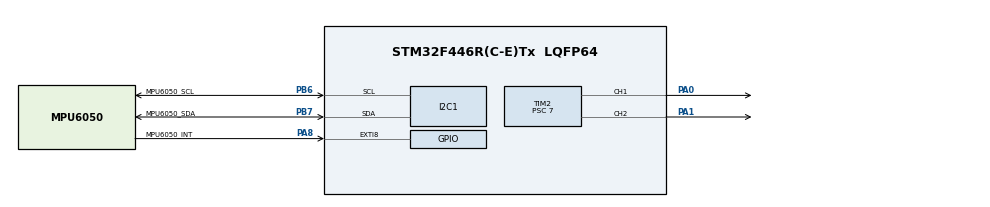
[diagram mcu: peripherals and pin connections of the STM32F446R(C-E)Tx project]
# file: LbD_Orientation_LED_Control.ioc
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FREERTOS.Tasks01=defaultTask,24,128,StartDefaultTask,Default,NULL,Dynamic,NULL,NULL;readSensorTask,32,128,Read_Sensor_Task,Default,NULL,Dynamic,NULL,NULL;pwmControlTask,40,128,PWM_Control_Task,Default,NULL,Dynamic,NULL,NULL
FREERTOS.configUSE_NEWLIB_REENTRANT=1
Mcu.Family=STM32F4
Mcu.Name=STM32F446R(C-E)Tx
Mcu.Package=LQFP64
NVIC.EXTI9_5_IRQn=true\:5\:0\:false\:false\:true\:true\:true\:true\:true
NVIC.I2C1_ER_IRQn=true\:5\:0\:false\:false\:true\:true\:true\:true\:true
NVIC.I2C1_EV_IRQn=true\:5\:0\:false\:false\:true\:true\:true\:true\:true
NVIC.PriorityGroup=NVIC_PRIORITYGROUP_4
NVIC.TIM6_DAC_IRQn=true\:15\:0\:false\:false\:true\:false\:false\:true\:true
NVIC.TimeBase=TIM6_DAC_IRQn
NVIC.TimeBaseIP=TIM6
PA0-WKUP.Signal=S_TIM2_CH1_ETR
PA1.Signal=S_TIM2_CH2
PA8.GPIO_Label=MPU6050_INT
PA8.Signal=GPXTI8
PB6.GPIO_Label=MPU6050_SCL
PB6.Mode=I2C
PB6.Signal=I2C1_SCL
PB7.GPIO_Label=MPU6050_SDA
PB7.Mode=I2C
PB7.Signal=I2C1_SDA
ProjectManager.HeapSize=0x200
ProjectManager.StackSize=0x400
ProjectManager.TargetToolchain=STM32CubeIDE
RCC.AHBCLKDivider=RCC_SYSCLK_DIV2
RCC.AHBFreq_Value=8000000
RCC.APB1Freq_Value=8000000
RCC.APB1TimFreq_Value=8000000
RCC.APB2Freq_Value=8000000
RCC.APB2TimFreq_Value=8000000
RCC.CortexFreq_Value=8000000
RCC.HCLKFreq_Value=8000000
RCC.USBFreq_Value=96000000
RCC.VCOOutputFreq_Value=192000000
SH.S_TIM2_CH1_ETR.0=TIM2_CH1,PWM Generation1 CH1
SH.S_TIM2_CH2.0=TIM2_CH2,PWM Generation2 CH2
TIM2.Channel-PWM\ Generation1\ CH1=TIM_CHANNEL_1
TIM2.Channel-PWM\ Generation2\ CH2=TIM_CHANNEL_2
TIM2.Period=1000
TIM2.Prescaler=7
TIM2.Pulse-PWM\ Generation1\ CH1=500
TIM2.Pulse-PWM\ Generation2\ CH2=200
TIM2.TIM_MasterOutputTrigger=TIM_TRGO_RESET
VP_FREERTOS_VS_CMSIS_V2.Mode=CMSIS_V2
VP_SYS_VS_tim6.Mode=TIM6
VP_TIM2_VS_ClockSourceINT.Mode=Internal
board=custom

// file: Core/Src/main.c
/* USER CODE BEGIN Header */
/**
 ******************************************************************************
 * @file           : main.c
 * @brief          : Main program body
 ******************************************************************************
 * @attention
 *
 * Copyright (c) 2025 STMicroelectronics.
 * All rights reserved.
 *
 * This software is licensed under terms that can be found in the LICENSE file
 * in the root directory of this software component.
 * If no LICENSE file comes with this software, it is provided AS-IS.
 *
 ******************************************************************************
 */
/* USER CODE END Header */
#include "main.h"
#include "cmsis_os.h"

/* USER CODE BEGIN Includes */

#include <math.h>
#include "kalman_filter.h"
#include "mpu6050.h"
#include <limits.h>

/* USER CODE END Includes */

I2C_HandleTypeDef hi2c1;

TIM_HandleTypeDef htim2;

/* Definitions for defaultTask */
osThreadId_t defaultTaskHandle;
const osThreadAttr_t defaultTask_attributes = { .name = "defaultTask", .stack_size = 128 * 4, .priority =
		(osPriority_t) osPriorityNormal, };
/* Definitions for readSensorTask */
osThreadId_t readSensorTaskHandle;
const osThreadAttr_t readSensorTask_attributes = { .name = "readSensorTask", .stack_size = 128 * 4, .priority =
		(osPriority_t) osPriorityAboveNormal, };
/* Definitions for pwmControlTask */
osThreadId_t pwmControlTaskHandle;
const osThreadAttr_t pwmControlTask_attributes = { .name = "pwmControlTask", .stack_size = 128 * 4, .priority =
		(osPriority_t) osPriorityHigh, };

void SystemClock_Config(void);
static void MX_GPIO_Init(void);
static void MX_TIM2_Init(void);
static void MX_I2C1_Init(void);
void StartDefaultTask(void *argument);
void Read_Sensor_Task(void *argument);
void PWM_Control_Task(void *argument);

/* USER CODE BEGIN PFP */

long map(long x, long in_min, long in_max, long out_min, long out_max) {
	long result = (x - in_min) * (out_max - out_min) / (in_max - in_min) + out_min;

	if (result > out_max)
		result = out_max;
	else if (result < out_min)
		result = out_min;

	return result;
}

void change_pwm_duty_cycle(uint32_t pwm_pulse, uint8_t channel) {
	__HAL_TIM_SET_COMPARE(&htim2, channel, pwm_pulse);
}

void HAL_GPIO_EXTI_Callback(uint16_t GPIO_Pin) {
	if (GPIO_Pin == MPU6050_INT_Pin) {
		mpu6050_interrupt_handle(&hi2c1);
	}
}

void mpu6050_raw_data_ready_callback(void) {
	BaseType_t pxHigherPriorityTaskWoken;
	pxHigherPriorityTaskWoken = pdFALSE;

	if (readSensorTaskHandle) {
		xTaskNotifyFromISR((TaskHandle_t )readSensorTaskHandle, 0, eNoAction, &pxHigherPriorityTaskWoken);
	}

	portYIELD_FROM_ISR(pxHigherPriorityTaskWoken);
}

/* USER CODE END PFP */

/* USER CODE BEGIN 0 */

const mpu6050_accelerometer_data_t error_offset = { .x = 112, .y = 164, .z = 1996 };

/* USER CODE END 0 */

int main(void) {

	/* MCU Configuration--------------------------------------------------------*/

	/* Reset of all peripherals, Initializes the Flash interface and the Systick. */
	HAL_Init();

	/* Configure the system clock */
	SystemClock_Config();

	/* Initialize all configured peripherals */
	MX_GPIO_Init();
	MX_TIM2_Init();
	MX_I2C1_Init();
	/* USER CODE BEGIN 2 */

	if (mpu6050_init(&hi2c1, MPU6050_I2C_ADDRESS) != MPU6050_OK) {
		Error_Handler();
	}

	if (mpu6050_disable_interrupt(&hi2c1, ALL_INT) != MPU6050_OK) {
		Error_Handler();
	}

	if (mpu6050_interrupt_config(&hi2c1, INT_LEVEL_ACTIVE_HIGH) != MPU6050_OK) {
		Error_Handler();
	}

	if (mpu6050_enable_interrupt(&hi2c1, RAW_RDY_INT) != MPU6050_OK) {
		Error_Handler();
	}

	if (HAL_TIM_PWM_Start(&htim2, TIM_CHANNEL_1) != HAL_OK) {
		Error_Handler();
	}

	if (HAL_TIM_PWM_Start(&htim2, TIM_CHANNEL_2) != HAL_OK) {
		Error_Handler();
	}

	/* USER CODE END 2 */

	/* Init scheduler */
	osKernelInitialize();

	/* Create the thread(s) */
	/* creation of defaultTask */
	defaultTaskHandle = osThreadNew(StartDefaultTask, NULL, &defaultTask_attributes);

	/* creation of readSensorTask */
	readSensorTaskHandle = osThreadNew(Read_Sensor_Task, NULL, &readSensorTask_attributes);

	/* creation of pwmControlTask */
	pwmControlTaskHandle = osThreadNew(PWM_Control_Task, NULL, &pwmControlTask_attributes);

	/* Start scheduler */
	osKernelStart();

	/* We should never get here as control is now taken by the scheduler */

	/* Infinite loop */
	while (1) {

	}
}

void SystemClock_Config(void) {
	RCC_OscInitTypeDef RCC_OscInitStruct = { 0 };
	RCC_ClkInitTypeDef RCC_ClkInitStruct = { 0 };

	/** Configure the main internal regulator output voltage
	 */
	__HAL_RCC_PWR_CLK_ENABLE();
	__HAL_PWR_VOLTAGESCALING_CONFIG(PWR_REGULATOR_VOLTAGE_SCALE3);

	/** Initializes the RCC Oscillators according to the specified parameters
	 * in the RCC_OscInitTypeDef structure.
	 */
	RCC_OscInitStruct.OscillatorType = RCC_OSCILLATORTYPE_HSI;
	RCC_OscInitStruct.HSIState = RCC_HSI_ON;
	RCC_OscInitStruct.HSICalibrationValue = RCC_HSICALIBRATION_DEFAULT;
	RCC_OscInitStruct.PLL.PLLState = RCC_PLL_NONE;
	if (HAL_RCC_OscConfig(&RCC_OscInitStruct) != HAL_OK) {
		Error_Handler();
	}

	/** Initializes the CPU, AHB and APB buses clocks
	 */
	RCC_ClkInitStruct.ClockType = RCC_CLOCKTYPE_HCLK | RCC_CLOCKTYPE_SYSCLK | RCC_CLOCKTYPE_PCLK1 | RCC_CLOCKTYPE_PCLK2;
	RCC_ClkInitStruct.SYSCLKSource = RCC_SYSCLKSOURCE_HSI;
	RCC_ClkInitStruct.AHBCLKDivider = RCC_SYSCLK_DIV2;
	RCC_ClkInitStruct.APB1CLKDivider = RCC_HCLK_DIV1;
	RCC_ClkInitStruct.APB2CLKDivider = RCC_HCLK_DIV1;

	if (HAL_RCC_ClockConfig(&RCC_ClkInitStruct, FLASH_LATENCY_0) != HAL_OK) {
		Error_Handler();
	}
}

static void MX_I2C1_Init(void) {

	hi2c1.Instance = I2C1;
	hi2c1.Init.ClockSpeed = 100000;
	hi2c1.Init.DutyCycle = I2C_DUTYCYCLE_2;
	hi2c1.Init.OwnAddress1 = 0;
	hi2c1.Init.AddressingMode = I2C_ADDRESSINGMODE_7BIT;
	hi2c1.Init.DualAddressMode = I2C_DUALADDRESS_DISABLE;
	hi2c1.Init.OwnAddress2 = 0;
	hi2c1.Init.GeneralCallMode = I2C_GENERALCALL_DISABLE;
	hi2c1.Init.NoStretchMode = I2C_NOSTRETCH_DISABLE;
	if (HAL_I2C_Init(&hi2c1) != HAL_OK) {
		Error_Handler();
	}

}

static void MX_TIM2_Init(void) {

	TIM_ClockConfigTypeDef sClockSourceConfig = { 0 };
	TIM_MasterConfigTypeDef sMasterConfig = { 0 };
	TIM_OC_InitTypeDef sConfigOC = { 0 };

	htim2.Instance = TIM2;
	htim2.Init.Prescaler = 7;
	htim2.Init.CounterMode = TIM_COUNTERMODE_UP;
	htim2.Init.Period = 1000;
	htim2.Init.ClockDivision = TIM_CLOCKDIVISION_DIV1;
	htim2.Init.AutoReloadPreload = TIM_AUTORELOAD_PRELOAD_DISABLE;
	if (HAL_TIM_Base_Init(&htim2) != HAL_OK) {
		Error_Handler();
	}
	sClockSourceConfig.ClockSource = TIM_CLOCKSOURCE_INTERNAL;
	if (HAL_TIM_ConfigClockSource(&htim2, &sClockSourceConfig) != HAL_OK) {
		Error_Handler();
	}
	if (HAL_TIM_PWM_Init(&htim2) != HAL_OK) {
		Error_Handler();
	}
	sMasterConfig.MasterOutputTrigger = TIM_TRGO_RESET;
	sMasterConfig.MasterSlaveMode = TIM_MASTERSLAVEMODE_DISABLE;
	if (HAL_TIMEx_MasterConfigSynchronization(&htim2, &sMasterConfig) != HAL_OK) {
		Error_Handler();
	}
	sConfigOC.OCMode = TIM_OCMODE_PWM1;
	sConfigOC.Pulse = 500;
	sConfigOC.OCPolarity = TIM_OCPOLARITY_HIGH;
	sConfigOC.OCFastMode = TIM_OCFAST_DISABLE;
	if (HAL_TIM_PWM_ConfigChannel(&htim2, &sConfigOC, TIM_CHANNEL_1) != HAL_OK) {
		Error_Handler();
	}
	sConfigOC.Pulse = 200;
	if (HAL_TIM_PWM_ConfigChannel(&htim2, &sConfigOC, TIM_CHANNEL_2) != HAL_OK) {
		Error_Handler();
	}
	HAL_TIM_MspPostInit(&htim2);

}

static void MX_GPIO_Init(void) {
	GPIO_InitTypeDef GPIO_InitStruct = { 0 };

	/* GPIO Ports Clock Enable */
	__HAL_RCC_GPIOA_CLK_ENABLE();
	__HAL_RCC_GPIOB_CLK_ENABLE();

	/*Configure GPIO pin : MPU6050_INT_Pin */
	GPIO_InitStruct.Pin = MPU6050_INT_Pin;
	GPIO_InitStruct.Mode = GPIO_MODE_IT_RISING;
	GPIO_InitStruct.Pull = GPIO_NOPULL;
	HAL_GPIO_Init(MPU6050_INT_GPIO_Port, &GPIO_InitStruct);

	/* EXTI interrupt init*/
	HAL_NVIC_SetPriority(EXTI9_5_IRQn, 5, 0);
	HAL_NVIC_EnableIRQ(EXTI9_5_IRQn);

}

void StartDefaultTask(void *argument) {
	for (;;) {
		osDelay(1);
	}
}

void Read_Sensor_Task(void *argument) {
	/* USER CODE BEGIN Read_Sensor_Task */

	mpu6050_accelerometer_data_t accelerometer_data;
	uint32_t yz_accelerometer_data;

	for (;;) {
		// READ SENSOR DATA
		if (mpu6050_read_accelerometer_data(&hi2c1, MPU6050_I2C_ADDRESS, &accelerometer_data) != MPU6050_OK) {
			Error_Handler();
		}
		accelerometer_data = mpu6050_accelerometer_calibration(&error_offset, &accelerometer_data);
		yz_accelerometer_data = (accelerometer_data.z << 16) | accelerometer_data.y;

		// SEND NOTIFICATION TO THE PWM CONTROL TASK
		xTaskNotify((TaskHandle_t )pwmControlTaskHandle, yz_accelerometer_data, eSetValueWithOverwrite);

		// ENTER BLOCKED STATE
		xTaskNotifyWait(0, 0, NULL, portMAX_DELAY);
	}

	/* USER CODE END Read_Sensor_Task */
}

void PWM_Control_Task(void *argument) {
	/* USER CODE BEGIN PWM_Control_Task */

	mpu6050_accelerometer_data_t accelerometer_data;
	int16_t roll_angle, kalman_roll_angle;
	float dt = 0;
	uint32_t previous_tick = osKernelGetTickCount();
	uint32_t yz_accelerometer_data;

	KalmanFilter kf;
	kalman_filter_init(&kf);

	for (;;) {
		// WAKES UP ON NOTIFICATION
		// ENTER BLOCKED STATE
		xTaskNotifyWait(0, ULONG_MAX, &yz_accelerometer_data, portMAX_DELAY);

		// EXTRACT RECEIVED DATA
		accelerometer_data.y = (uint16_t) (yz_accelerometer_data);
		accelerometer_data.z = (uint16_t) (yz_accelerometer_data >> 16);

		uint32_t current_tick = osKernelGetTickCount();
		dt = (current_tick - previous_tick) / 1000.0f;
		previous_tick = current_tick;

		roll_angle = atan2(accelerometer_data.y, accelerometer_data.z) * (180.0 / M_PI);
		kalman_roll_angle = (int16_t) kalman_filter_get_angle(&kf, roll_angle, dt);

		uint8_t channel = (kalman_roll_angle < 0) ? TIM_CHANNEL_1 : TIM_CHANNEL_2;
		kalman_roll_angle = (kalman_roll_angle < 0) ? -kalman_roll_angle : kalman_roll_angle;
		uint32_t pwm_pulse = map(kalman_roll_angle, MIN_POS_ANGLE, MAX_POS_ANGLE, MIN_PWM_PULSE, MAX_PWM_PULSE);
		change_pwm_duty_cycle(pwm_pulse, channel);

		// ENTER BLOCKED STATE
	}

	/* USER CODE END PWM_Control_Task */
}

void HAL_TIM_PeriodElapsedCallback(TIM_HandleTypeDef *htim) {
	if (htim->Instance == TIM6) {
		HAL_IncTick();
	}
}

void Error_Handler(void) {
	__disable_irq();
	while (1) {
	}
}
